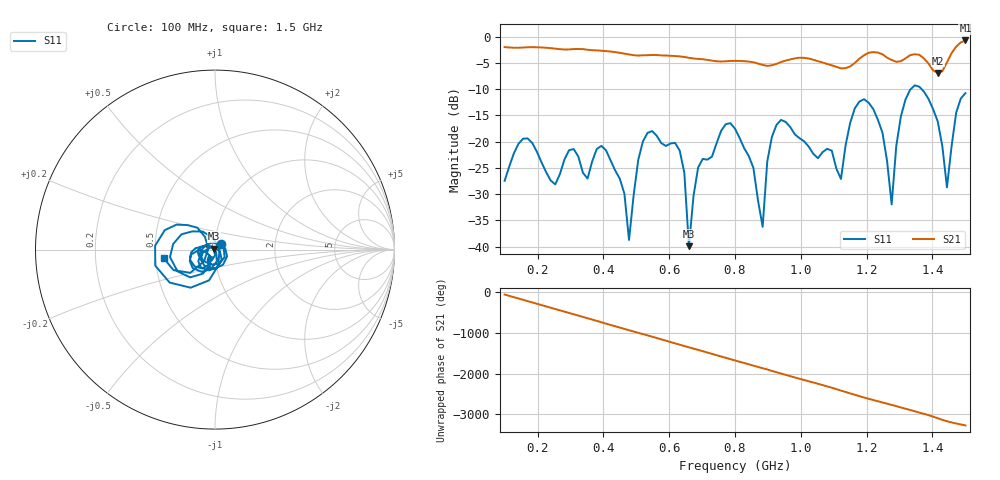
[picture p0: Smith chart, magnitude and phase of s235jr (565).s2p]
! NanoVNA-App
! Date: 2025-09-25 15:08:34
! Start: 100MHz Stop: 1,5GHz Points: 101
! S-Parameter data: F S11 S21 S12 S22
# Hz S RI R 50
!  Frequency  S11_Real  S11_Imag  S21_Real  S21_Imag  S12_Real  S12_Imag  S22_Real  S22_Imag
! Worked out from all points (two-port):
!   101 points, 100 MHz to 1.5 GHz, reference 50 ohm
!   highest |S21| = -0.70 dB at 1.5 GHz (marker M1); lowest = -6.9 dB at 1.416 GHz (marker M2)
!   |S21| within 3 dB of the highest: start of sweep to 623.9 MHz; 1.188 GHz to 1.256 GHz (67.63 MHz wide, 5.53 % of centre) (the widest 2 of 4)
!   lowest |S11| = -39.9 dB at 660 MHz (marker M3), VSWR 1.02, Z = 49.2 + j0.602 ohm
!   |S11| at or under -10 dB: start of sweep to 1.334 GHz; 1.367 GHz to end of sweep
!   S12 and S22 are empty: the file has one direction only
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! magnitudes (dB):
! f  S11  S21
! 100 MHz  -27.5  -2.0
! 156 MHz  -19.4  -2.0
! 338 MHz  -25.9  -2.3
! 408 MHz  -21.6  -2.7
! 478 MHz  -38.7  -3.4
! 520 MHz  -20.0  -3.5
! 576 MHz  -20.3  -3.6
! 632 MHz  -21.7  -3.7
! 660 MHz  -39.9  -4.0
! 688 MHz  -24.9  -4.2
! 800 MHz  -17.5  -4.6
! 884 MHz  -36.2  -5.4
! 926 MHz  -16.8  -5.2
! 1.038 GHz  -22.3  -4.4
! 1.122 GHz  -27.1  -6.0
! 1.192 GHz  -11.9  -3.5
! 1.248 GHz  -18.3  -3.3
! 1.276 GHz  -32.0  -4.4
! 1.332 GHz  -10.1  -3.5
! 1.416 GHz  -16.1  -6.9
! 1.444 GHz  -28.7  -4.9
! 1.5 GHz  -10.7  -0.7
